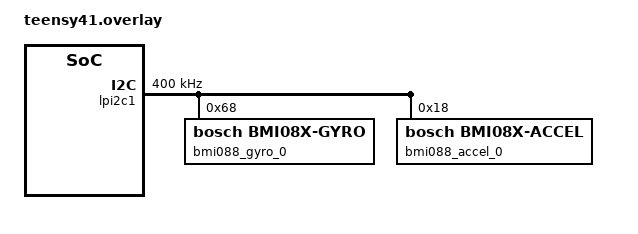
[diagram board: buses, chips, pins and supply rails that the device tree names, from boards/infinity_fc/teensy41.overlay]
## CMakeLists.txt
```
cmake_minimum_required(VERSION 3.20)

list(APPEND CMAKE_MODULE_PATH ${CMAKE_CURRENT_SOURCE_DIR}/cmake)
include(platform)
configure_platform()

find_package(Zephyr REQUIRED HINTS $ENV{ZEPHYR_BASE})


include(FetchContent)

FetchContent_Declare(
    eigen
    GIT_REPOSITORY https://gitlab.com/libeigen/eigen.git
    GIT_TAG        master  # O un tag specifico come 3.4.0
)

FetchContent_MakeAvailable(eigen)

#set(CMAKE_TRY_COMPILE_TARGET_TYPE "STATIC_LIBRARY")
project(Infinity-Autopilot VERSION 0.5 LANGUAGES C CXX)
set(CMAKE_CXX_STANDARD 17)
set(CMAKE_CXX_STANDARD_REQUIRED ON)
set(CMAKE_C_STANDARD 11)
set(CMAKE_C_STANDARD_REQUIRED ON)
set(CMAKE_EXPORT_COMPILE_COMMANDS ON)

# ── Generazione codice parametri
include(params_generation)
param_generation()   # setta PARAM_DEFS_HPP e PARAM_DEFS_CPP

# ── Generazione codice parametri
include(topic_generation)
topic_generation()   # setta TOPIC_GENERATED_HEADERS

add_subdirectory(lib)

add_subdirectory(platform/infinity)

if(CONFIG_TARGET_SITL OR ${TARGET_PLATFORM} STREQUAL "SITL")
add_subdirectory(platform/posix)
endif()

add_subdirectory(src/utils)
add_subdirectory(src/modules)
add_subdirectory(src/drivers)

# Aggiungi entry point
add_subdirectory(src/entry)

target_sources(app PRIVATE ${PARAM_DEFS_CPP})
zephyr_include_directories(${CMAKE_BINARY_DIR}/generated)
add_dependencies(app generate_params)
add_dependencies(app generate_topic)
```

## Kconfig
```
mainmenu "Infinity-Autopilot Configuration"
menu "Zephyr Configuration"
source "Kconfig.zephyr"
endmenu

# Imponi che una e una sola piattaforma sia selezionata
choice
    prompt "Target choice"
    default TARGET_TEENSY41
    help
      Choose the target platform for the build.

config TARGET_SITL
    bool "SITL"

config TARGET_TEENSY41
    bool "Teensy 4.1"

endchoice

menu "Drivers Configuration"
rsource "src/drivers/Kconfig"
endmenu

menu "Modules Configuration"
rsource "src/modules/Kconfig"
endmenu

menu "Scheduler Configuration"
rsource "platform/infinity/scheduler/Kconfig"
endmenu
```

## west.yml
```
# west.yml
manifest:
  defaults:
    remote: upstream

  remotes:
    - name: upstream
      url-base: https://github.com/zephyrproject-rtos

  projects:
    - name: zephyr
      repo-path: zephyr
      revision: v4.3.0              # Scegli una versione stabile (o main se vuoi l'ultima)
      import: true                     # Importa automaticamente i moduli di Zephyr (HAL, ecc.)

  self:
    path: .                            # Importantissimo: indica che questo repository (il tuo) deve stare nella radice del workspace
```

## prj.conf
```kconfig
CONFIG_CPP=y
CONFIG_STD_CPP17=y
CONFIG_CPP_EXCEPTIONS=n
CONFIG_CPP_RTTI=n
CONFIG_REQUIRES_FULL_LIBCPP=y 

CONFIG_RTIO=y


# ----------------- Thread configurations -------------------
# Scheduler
CONFIG_SCHED_DEADLINE=y
CONFIG_TIMESLICING=y

# 10ms timeslice per thread best-effort
CONFIG_TIMESLICE_SIZE=10        

# Stack e thread
CONFIG_MAIN_STACK_SIZE=4096
CONFIG_NUM_PREEMPT_PRIORITIES=16

# per thread di init
CONFIG_NUM_COOP_PRIORITIES=2    


# per analizzare i context switch con Percepio Tracealyzer
CONFIG_TRACING=y                


# ------------------ Flash e Storage ------------------
# 1. Abilita il supporto hardware per la memoria flash
CONFIG_FLASH=y

# 3. Abilita il layout delle pagine di flash (richiesto da FCB)
CONFIG_FLASH_PAGE_LAYOUT=y

# 4. Abilita la mappa della memoria flash (richiesto da FCB)
CONFIG_FLASH_MAP=y

# 5. Abilita il Flash Circular Buffer (FCB)
CONFIG_FCB=y

# ------------------ Settings Subsystem ------------------
# Abilita il Settings Subsystem
CONFIG_SETTINGS=y

# Seleziona esplicitamente FCB come backend per il Settings Subsystem
CONFIG_SETTINGS_FCB=y

# ------------------ Logging ------------------
CONFIG_PRINTK=y

CONFIG_LOG=y
CONFIG_LOG_MODE_IMMEDIATE=y
CONFIG_LOG_DEFAULT_LEVEL=3
CONFIG_CBPRINTF_FP_SUPPORT=y

#CONFIG_SHELL=y
#CONFIG_I2C_SHELL=y
CONFIG_CONSOLE=y

#CONFIG_RESET_ON_FATAL_ERROR=n
CONFIG_DEBUG=y
CONFIG_EXCEPTION_STACK_TRACE=y
CONFIG_THREAD_NAME=y
CONFIG_ASSERT=y
CONFIG_ASSERT_VERBOSE=y
```

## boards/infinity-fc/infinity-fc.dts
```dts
/dts-v1/;

/* Inclusione del file base del microcontrollore STM32H753ZI */
#include <st/h7/stm32h753Xi.dtsi>

/* Inclusione degli header per le macro utili */
#include <dt-bindings/pinctrl/stm32-pinctrl.h>
#include <dt-bindings/clock/stm32h7_clock.h>
#include <dt-bindings/gpio/gpio.h>

/ {
    model = "Infinity Flight Computer";
    compatible = "infinity-autopilot,flight-controller";

    /* 1. Definizione degli Oscillatori Esterni (HSE e LSE) */
    clocks {
        /* Oscillatore ad alta velocità (HSE) a 25 MHz */
        clk_hse: clk-hse {
            #clock-cells = <0>;
            compatible = "fixed-clock";
            clock-frequency = <25000000>; /* 25 MHz */
            status = "okay";
        };

        /* Oscillatore a bassa velocità (LSE) per l'RTC a 32.768 kHz */
        clk_lse: clk-lse {
            #clock-cells = <0>;
            compatible = "fixed-clock";
            clock-frequency = <32768>;
            status = "okay";
        };
    };

    /* (Opzionale) Nodo per alias, utile per riferimenti veloci nel codice */
    aliases {
        led0 = &green_led;
    };

    /* Definizione di LED o altri componenti custom sulla scheda */
    leds {
        compatible = "gpio-leds";
        green_led: led_0 {
            gpios = <&gpioa 5 GPIO_ACTIVE_HIGH>;
            label = "User LED";
        };
    };

    /* Lo spazio `chosen` permette di selezionare la console di debug */
    chosen {
        zephyr,console = &usart1; /* Usa USART1 per output di log */
        zephyr,shell-uart = &usart1;
        zephyr,sram = &sram0;
        zephyr,flash = &flash0;
    };
};

/* 2. Configurazione del Clock Tree */
&rcc {
    clocks = <&pll>; /* Il PLL è la sorgente di clock del sistema */
    clock-frequency = <DT_FREQ_M(480)>; /* Frequenza massima del core a 480 MHz */

    /* Prescaler per i vari domini di clock (configurazione standard) */
    d1cpre = <1>;  /* Prescaler per il dominio D1 (CPU core) */
    hpre = <2>;    /* Prescaler per il bus AHB (HCLK = SYSCLK / 2 = 240 MHz) */
    d1ppre = <2>;  /* Prescaler per APB3 (PCLK3) */
    d2ppre1 = <2>; /* Prescaler per APB1 */
    d2ppre2 = <2>; /* Prescaler per APB2 */
    d3ppre = <2>;  /* Prescaler per APB4 */

    /* Attivazione degli oscillatori esterni */
    pll: pll {
        compatible = "st,stm32h7-pll-clock";
        status = "okay";

        /* Sorgente del PLL: l'oscillatore HSE */
        clocks = <&clk_hse>;

        /* Configurazione per ottenere 480 MHz da un HSE a 25 MHz */
        /* (I valori possono variare in base alla configurazione esatta) */
        div-m = <5>;      /* M = 5 */
        mul-n = <192>;    /* N = 192 */
        div-p = <2>;      /* P = 2 */
        div-q = <20>;     /* Q = 20 */
        div-r = <2>;      /* R = 2 */
    };
};

/* 3. Attivazione e Configurazione delle Periferiche */

/* --- SPI1 (PA4=NSS, PA5=SCK, PA6=MISO, PA7=MOSI) --- */
&spi1 {
    pinctrl-0 = <&spi1_nss_pa4 &spi1_sck_pa5 &spi1_miso_pa6 &spi1_mosi_pa7>;
    pinctrl-names = "default";
    cs-gpios = <&gpioa 4 GPIO_ACTIVE_LOW>; /* NSS manuale via GPIO */
    status = "okay";

    /* Esempio di dispositivo SPI connesso */
    my_spi_device: device@0 {
        compatible = "some-spi-device";
        reg = <0>;
        spi-max-frequency = <10000000>;
    };
};

/* --- SPI2 (PB12=NSS, PB13=SCK, PB14=MISO, PB15=MOSI) --- */
&spi2 {
    pinctrl-0 = <&spi2_nss_pb12 &spi2_sck_pb13 &spi2_miso_pb14 &spi2_mosi_pb15>;
    pinctrl-names = "default";
    cs-gpios = <&gpiob 12 GPIO_ACTIVE_LOW>; /* NSS manuale */
    status = "okay";
};

/* --- I2C1 (PB8=SCL, PB9=SDA) --- */
&i2c1 {
    pinctrl-0 = <&i2c1_scl_pb8 &i2c1_sda_pb9>;
    pinctrl-names = "default";
    status = "okay";
    clock-frequency = <I2C_BITRATE_FAST>; /* 400 kHz */
};

/* --- I2C2 (PB10=SCL, PB11=SDA) --- */
&i2c2 {
    pinctrl-0 = <&i2c2_scl_pb10 &i2c2_sda_pb11>;
    pinctrl-names = "default";
    status = "okay";
    clock-frequency = <I2C_BITRATE_FAST>;
};

/* --- UART1 (PA0=TX, PA1=RX) --- */
&uart1 {
    pinctrl-0 = <&uart1_tx_pa0 &uart1_rx_pa1>;
    pinctrl-names = "default";
    status = "okay";
    current-speed = <115200>;
};

/* --- USART1 (PA9=TX, PA10=RX) --- */
&usart1 {
    pinctrl-0 = <&usart1_tx_pa9 &usart1_rx_pa10>;
    pinctrl-names = "default";
    status = "okay";
    current-speed = <115200>;
};

/* --- TIM1 per PWM (PA8=CH1, PA9=CH2, PA10=CH3, PA11=CH4) --- */
&timers1 {
    status = "okay";
    pwm: pwm {
        pinctrl-0 = <&tim1_ch1_pwm_pa8 &tim1_ch2_pwm_pa9 &tim1_ch3_pwm_pa10 &tim1_ch4_pwm_pa11>;
        pinctrl-names = "default";
        status = "okay";
        st,prescaler = <10000>; /* Esempio: regola per la frequenza PWM desiderata */
    };
};
```

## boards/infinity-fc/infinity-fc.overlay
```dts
&spi1 {
    /* ... le tue configurazioni pinctrl e cs-gpios ... */
    cs-gpios = <&gpioa 4 GPIO_ACTIVE_LOW>, <&gpioa 15 GPIO_ACTIVE_LOW>;
    status = "okay";

    /* Nodo del tuo dispositivo */
    my_sensor: my-sensor@1 {
        compatible = "vendor,my-sensor";
        reg = <1>; /* Corrisponde all'indice in cs-gpios (il secondo elemento) */
        spi-max-frequency = <10000000>;

        /* Definizione del pin di interrupt */
        irq-gpios = <&gpioc 4 GPIO_ACTIVE_HIGH>; /* Pin PC4, attivo alto */
    };
};
```

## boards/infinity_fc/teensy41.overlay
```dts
/ {
    // Qualsiasi altra configurazione...
};


&lpi2c1 {
    status = "okay";
    clock-frequency = <I2C_BITRATE_FAST>;

    bmi088_gyro_0: bmi088-gyr@68 {
        compatible = "bosch,bmi08x-gyro";
        reg = <0x68>; /* Indirizzo I2C del giroscopio */
        gyro-hz = "1000_116"; 
        gyro-fs = <2000>;
        status = "okay";
    };

    bmi088_accel_0: bmi088-acc@18 {
        compatible = "bosch,bmi08x-accel";
        reg = <0x18>; /* Indirizzo I2C dell'accelerometro */
        accel-hz = "1600";
        accel-fs = <8>;
        status = "okay";
    };
};
```

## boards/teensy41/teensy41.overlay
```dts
/ {
    chosen {
        zephyr,console = &cdc_acm_uart0;
        zephyr,shell-uart = &cdc_acm_uart0;
    };


    imu_0: bmi088-imu-0 {
        compatible = "infinity-autopilot,bmi088-imu";
        accel = <&bmi088_accel_0>;
        gyro = <&bmi088_gyro_0>;
    };
};

&zephyr_udc0 {
    cdc_acm_uart0: cdc_acm_uart0 {
        compatible = "zephyr,cdc-acm-uart";
        status = "okay";
    };
};

&lpi2c1 {
    pinctrl-0 = <&pinmux_lpi2c1>;
    pinctrl-names = "default";
    status = "okay";
    clock-frequency = <100000>;

    bmi088_gyro_0: bmi088-gyr@68 {
        compatible = "bosch,bmi08x-gyro";
        reg = <0x68>; /* Indirizzo I2C del giroscopio */
        int-gpios = <&gpio1 13 GPIO_ACTIVE_HIGH>;
        gyro-hz = "1000_116"; 
        gyro-fs = <2000>;
        status = "okay";

        int3-4-map-io = <0x01>;   /* abilita data-ready su INT3 */
        int3-4-conf-io = <0x0A>;
    };

    bmi088_accel_0: bmi088-acc@18 {
        compatible = "bosch,bmi08x-accel";
        reg = <0x18>; /* Indirizzo I2C dell'accelerometro */
        int-gpios = <&gpio1 12 GPIO_ACTIVE_HIGH>;
        accel-hz = "1600";
        accel-fs = <8>;
        status = "okay";

        int1-map-io = <0x01>;   /* abilita data-ready su INT1 */
        int1-conf-io = <0x0A>;  /* active high, push-pull */
        int2-map-io = <0x00>;   /* INT2 non usato: disabilita mappature */
        int2-conf-io = <0x00>;
    };
};

/* Partizione per le impostazioni persistenti (settings FCB) */
&w25q64jvxgim {
    partitions {
        compatible = "fixed-partitions";
        #address-cells = <1>;
        #size-cells = <1>;

        /* Partizione per le impostazioni */
        storage_partition: partition@7c0000 {
            label = "storage";
            reg = <0x007c0000 0x00040000>; /* 256 KB */
        };
    };
};
```

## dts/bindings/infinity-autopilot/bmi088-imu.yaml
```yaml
# dts/bindings/infinity-autopilot/bmi088-imu-group.yaml
description: "Gruppo virtuale per BMI088 (accelerometro + giroscopio)"
compatible: "infinity-autopilot,bmi088-imu"
include: base.yaml           # eredita proprietà base (come status)

properties:
  accel:
    type: phandle
    required: true
    description: "Riferimento all'accelerometro BMI08x"
  gyro:
    type: phandle
    required: true
    description: "Riferimento al giroscopio BMI08x"
```

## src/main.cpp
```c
#ifdef HAL_TEENSY
    #include <Arduino.h>
#elif defined(HAL_SITL)

#endif

#include <FlightController.hpp>
FlightController fc;

void setup() {
    fc.init();
}

void loop() {
    //MAI ESEGUITO CON RTOS
}
```

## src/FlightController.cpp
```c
#include <FlightController.hpp>



// Implementazione del Singleton
FlightController& FlightController::getInstance()
{
    // Questa variabile 'instance' viene creata solo la prima volta 
    // che chiami getInstance(). Le volte successive viene restituita quella già esistente.
    static FlightController instance; 
    return instance;
}

void FlightController::hardLoopWrapper()
{
    getInstance().hardLoop();
}



void FlightController::init()
{  
    _hal.init();

    _hal.getTimeInstance()->startHardLoop(LOOP_RATE_HARD_LOOP, FlightController::hardLoopWrapper);
    
    _imu_manager.init();
}


void FlightController::hardLoop()
{
    uint32_t hardloop_start = _hal.getTimeInstance()->micros();
    
    // Hard loop tasks

    _imu_manager.run();
    

    
}

void FlightController::runSoftLoop()
{
    uint32_t frame_start = _hal.getTimeInstance()->micros();


    // Soft loop tasks => il resto del frame usato per i soft tasks
    const uint32_t loop_period_us = hz_to_us(LOOP_RATE_HARD_LOOP);  //Conversione da hz a microsecondi

    while (_hal.getTimeInstance()->micros() - frame_start < loop_period_us)
    {
        /**
         * Soft-tasks:
         * - Telemetry
         * - Logging
         * - led toggling
         * - gps
         */
    }
    
}
```

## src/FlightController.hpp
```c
#pragma once 
#include <config/parameters.h>
#include <utils/Convertions.hpp>

#include <hal/HAL.hpp>

#include <modules/Logger/Logger.hpp>
#include <modules/ImuManager/ImuManager.hpp>

class FlightController
{
private:
    HAL _hal;
    Logger _logger;
    ImuManager _imu_manager;

    
    FlightController() : _imu_manager(_hal) {};
    ~FlightController() = default;

    void hardLoop();

public:

    // Metodo statico per ottenere l'unica istanza (il cuore del Singleton)
    static FlightController& getInstance();

    // Elimina il copy constructor e l'operatore di assegnazione
    // (Per evitare che qualcuno cloni il singleton per sbaglio)
    FlightController(const FlightController&) = delete;
    void operator=(const FlightController&) = delete;
    
    void init();

    // Wrapper statico per il timer
    static void hardLoopWrapper();
    
    void runSoftLoop();

};
```
